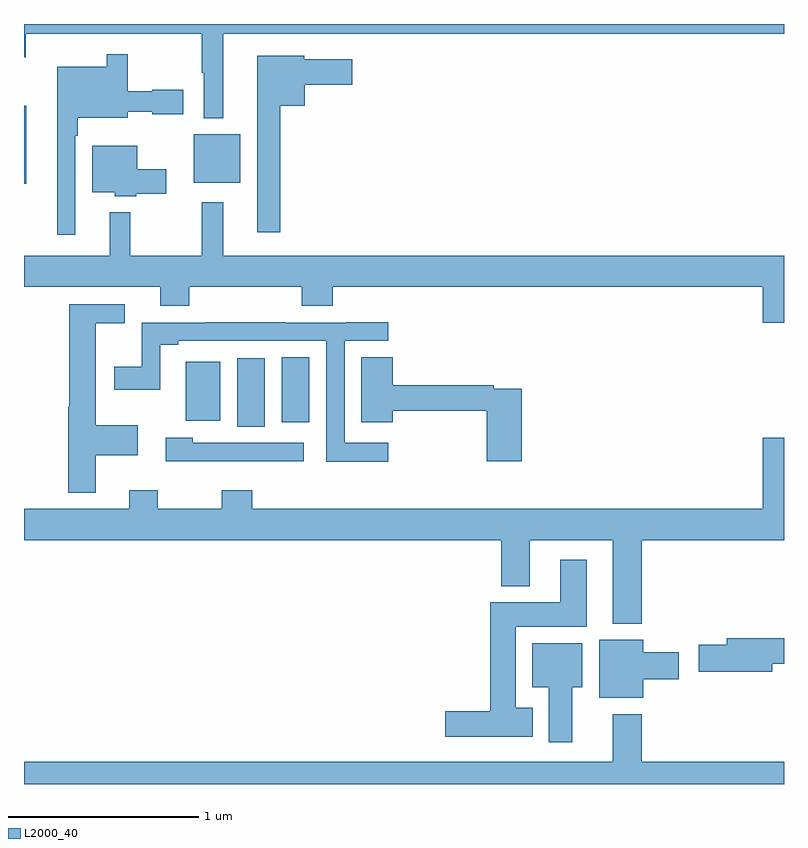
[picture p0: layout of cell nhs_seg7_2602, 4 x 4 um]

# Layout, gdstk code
import gdstk
lib = gdstk.Library(unit=1e-6, precision=1e-09)
def R(c, l, rs):  # rectangles x0, y0, x1, y1
    for r in rs: c.add(gdstk.rectangle(r[:2], r[2:], *l))
def P(c, l, *ps):  # polygons
    for p in ps: c.add(gdstk.Polygon(p, *l))
L2000_40 = (2000, 40)

nhs_seg7_2602 = lib.new_cell('nhs_seg7_2602')
R(nhs_seg7_2602, L2000_40, [(282.122,999.88,282.268,1000.24), (282.356,999.903,282.502,1000.247), (281.852,999.911,282.034,1000.222), (281,1001.159,281.011,1001.569), (281.894,1001.165,282.139,1001.419)])
P(nhs_seg7_2602, L2000_40, [(282.049,1001.948),(285,1001.948),(285,1002),(281,1002),(281,1001.825),(281.008,1001.825),(281.008,1001.948),(281.935,1001.948),(281.935,1001.743),(281.945,1001.743),(281.945,1001.504),(282.049,1001.504)],
  [(281.271,1001.411),(281.284,1001.411),(281.284,1001.507),(281.545,1001.507),(281.545,1001.537),(281.676,1001.537),(281.676,1001.525),(281.839,1001.525),(281.839,1001.655),(281.676,1001.655),(281.676,1001.647),(281.545,1001.647),(281.545,1001.842),(281.436,1001.842),(281.436,1001.776),(281.174,1001.776),(281.174,1000.89),(281.271,1000.89)],
  [(282.349,1001.57),(282.478,1001.57),(282.478,1001.681),(282.727,1001.681),(282.727,1001.815),(282.474,1001.815),(282.474,1001.833),(282.227,1001.833),(282.227,1000.905),(282.349,1000.905)],
  [(281.592,1001.107),(281.749,1001.107),(281.749,1001.236),(281.596,1001.236),(281.596,1001.359),(281.36,1001.359),(281.36,1001.114),(281.478,1001.114),(281.478,1001.093),(281.592,1001.093)],
  [(285,1000.78),(282.049,1000.78),(282.049,1001.062),(281.935,1001.062),(281.935,1000.78),(281.56,1000.78),(281.56,1001.008),(281.45,1001.008),(281.45,1000.78),(281,1000.78),(281,1000.616),(281.717,1000.616),(281.717,1000.517),(281.87,1000.517),(281.87,1000.616),(282.461,1000.616),(282.461,1000.517),(282.626,1000.517),(282.626,1000.616),(284.888,1000.616),(284.888,1000.428),(285,1000.428)],
  [(281.377,999.731),(281.599,999.731),(281.599,999.889),(281.377,999.889),(281.377,1000.426),(281.53,1000.426),(281.53,1000.524),(281.239,1000.524),(281.239,999.985),(281.234,999.985),(281.234,999.534),(281.377,999.534)],
  [(282.916,999.795),(282.687,999.795),(282.687,1000.332),(282.916,1000.332),(282.916,1000.43),(282.694,1000.43),(282.694,1000.428),(282.377,1000.428),(282.377,1000.43),(281.953,1000.43),(281.953,1000.428),(281.619,1000.428),(281.619,1000.195),(281.475,1000.195),(281.475,1000.076),(281.716,1000.076),(281.716,1000.312),(281.812,1000.312),(281.812,1000.332),(282.591,1000.332),(282.591,999.697),(282.916,999.697)],
  [(283.619,1000.08),(283.472,1000.08),(283.472,1000.1),(282.941,1000.1),(282.941,1000.247),(282.776,1000.247),(282.776,999.903),(282.941,999.903),(282.941,999.964),(283.436,999.964),(283.436,999.699),(283.619,999.699)],
  [(282.472,999.795),(281.889,999.795),(281.889,999.823),(281.745,999.823),(281.745,999.698),(282.472,999.698)],
  [(284.252,999.284),(285,999.284),(285,999.823),(284.888,999.823),(284.888,999.448),(282.2,999.448),(282.2,999.547),(282.04,999.547),(282.04,999.448),(281.703,999.448),(281.703,999.547),(281.555,999.547),(281.555,999.448),(281,999.448),(281,999.284),(283.511,999.284),(283.511,999.041),(283.663,999.041),(283.663,999.284),(284.099,999.284),(284.099,998.843),(284.252,998.843)],
  [(283.678,998.401),(283.588,998.401),(283.588,998.828),(283.963,998.828),(283.963,999.181),(283.823,999.181),(283.823,998.956),(283.454,998.956),(283.454,998.384),(283.218,998.384),(283.218,998.249),(283.678,998.249)],
  [(284.938,998.632),(285,998.632),(285,998.768),(284.699,998.768),(284.699,998.732),(284.55,998.732),(284.55,998.59),(284.938,998.59)],
  [(284.26,998.551),(284.446,998.551),(284.446,998.693),(284.26,998.693),(284.26,998.758),(284.027,998.758),(284.027,998.453),(284.26,998.453)],
  [(283.885,998.51),(283.939,998.51),(283.939,998.74),(283.676,998.74),(283.676,998.51),(283.763,998.51),(283.763,998.22),(283.885,998.22)],
  [(285,998.116),(284.252,998.116),(284.252,998.368),(284.099,998.368),(284.099,998.116),(281,998.116),(281,998),(285,998)])

lib.write_gds('nhs_seg7_2602.gds')
